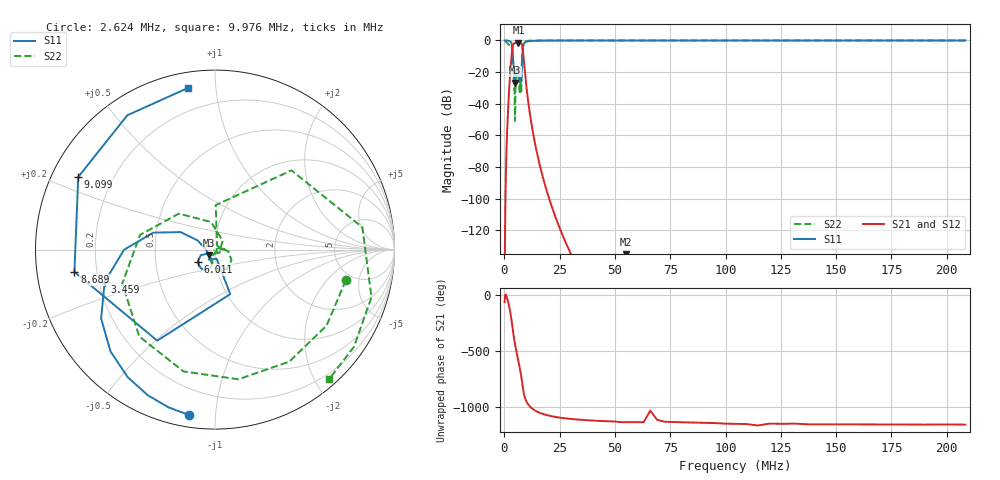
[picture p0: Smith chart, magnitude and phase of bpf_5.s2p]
! NeoRadio BPF 5: 4.5-7.5 MHz, selected in the bank
! generated_by 859cd57
# HZ S RI R 50
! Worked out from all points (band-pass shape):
!   182 points, 50 kHz to 208.4 MHz, reference 50 ohm
!   highest |S21| = -1.45 dB at 6.295 MHz (marker M1); lowest = -196.2 dB at 54.82 MHz (marker M2)
!   |S21| within 3 dB of the highest: 3.627 MHz to 8.119 MHz (4.492 MHz wide, 76.5 % of centre)
!   lowest |S11| = -26.6 dB at 4.56 MHz (marker M3), VSWR 1.10, Z = 46.7 - j3.06 ohm
!   |S11| at or under -10 dB: 3.835 MHz to 8.009 MHz (4.174 MHz wide, 70.5 % of centre)
!   |S22| runs from -50.9 to 0.0 dB; largest |S21 - S12| = 0
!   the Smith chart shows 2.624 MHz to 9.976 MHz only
!   S11 on the Smith chart (normalised r, x): 2.624 MHz: 0.06, -0.85; 3.459 MHz: 0.22, -0.14; 6.011 MHz: 0.82, -0.11; 8.689 MHz: 0.12, -0.08; 9.099 MHz: 0.08, +0.25; 9.976 MHz: 0.08, +0.84
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50000  0.9996 -0.0272  1.18e-09 -2.63e-09  1.18e-09 -2.63e-09  0.9917 -0.1246
208434.7  0.9933 -0.1133  4.05e-07 -1.13e-07  4.05e-07 -1.13e-07  0.8605 -0.4915
829793.5  0.8935 -0.4411  0.00022 -4.43e-05  0.00022 -4.43e-05  -0.3547 -0.8214
1900947  0.4188 -0.8824  0.00102 -0.0157  0.00102 -0.0157  -0.1917 0.7137
2624037  -0.1456 -0.921  -0.095 -0.0384  -0.095 -0.0384  0.7292 -0.1709
3303467  -0.6346 -0.3841  -0.1661 0.3525  -0.1661 0.3525  -0.4221 -0.4839
3459155  -0.6145 -0.1789  -0.0159 0.4913  -0.0159 0.4913  -0.5166 -0.1887
3971641  -0.1921 0.0975  0.7332 0.166  0.7332 0.166  -0.022 0.1541
4560054  -0.0331 -0.0327  0.3864 -0.7286  0.3864 -0.7286  -0.0045 -0.0232
4774963  -0.0223 -0.0571  0.0627 -0.8307  0.0627 -0.8307  -0.00282 -0.000526
5235643  -0.026 -0.103  -0.5734 -0.6159  -0.5734 -0.6159  0.074 -0.0105
6011322  -0.0959 -0.0683  -0.7504 0.3878  -0.7504 0.3878  0.0269 -0.1189
6294627  -0.0799 -0.0314  -0.4933 0.6871  -0.4933 0.6871  -0.0134 -0.0906
7567806  0.0091 -0.0506  0.7991 -0.1167  0.7991 -0.1167  0.0115 0.0213
8689004  -0.7833 -0.1238  -0.2396 -0.0918  -0.2396 -0.0918  0.8211 0.124
9098504  -0.7619 0.4047  -0.1203 0.0258  -0.1203 0.0258  0.872 -0.2654
9976312  -0.1505 0.9005  -0.0171 0.0258  -0.0171 0.0258  0.6346 -0.723
1.315134e7  0.9528 0.1824  0.000582 0.00076  0.000582 0.00076  -0.0999 -0.9865
1.655656e7  0.8391 -0.5202  7.33e-05 2.54e-05  7.33e-05 2.54e-05  -0.4532 -0.8871
5.235643e7  -0.6746 -0.7359  1.82e-10 -3.09e-10  1.82e-10 -3.09e-10  -0.947 -0.3153
5.482391e7  -0.7013 -0.7105  7.64e-11 -1.35e-10  7.64e-11 -1.35e-10  -0.9515 -0.3014
2.084347e8  -0.9745 -0.216  1.99e-13 -1.34e-12  1.99e-13 -1.34e-12  -0.9949 -0.0799
